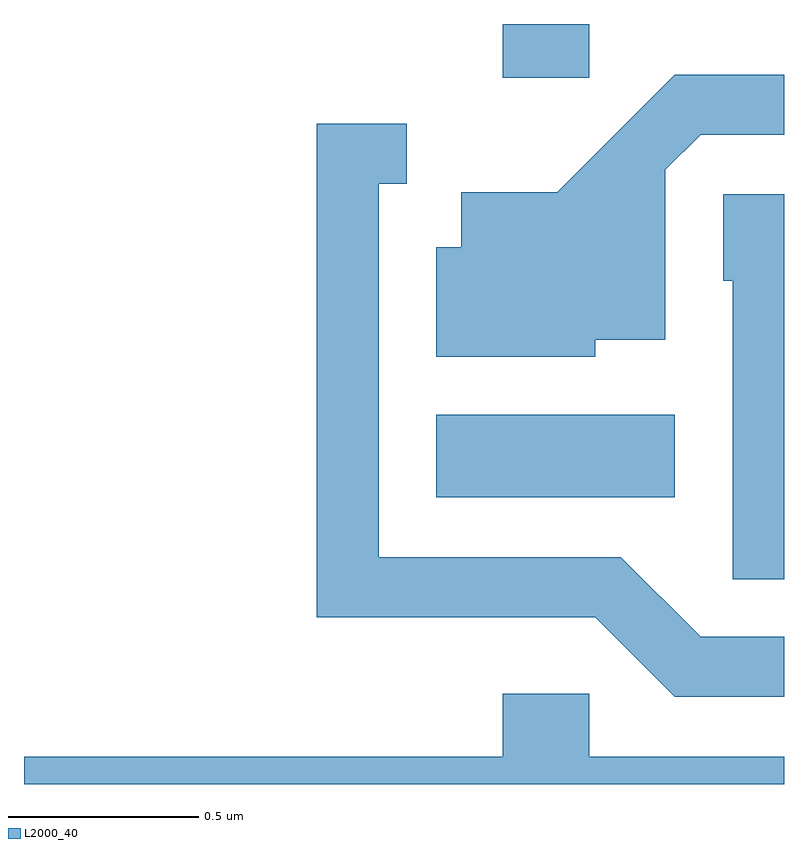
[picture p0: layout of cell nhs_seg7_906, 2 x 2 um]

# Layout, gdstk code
import gdstk
lib = gdstk.Library(unit=1e-6, precision=1e-09)
def R(c, l, rs):  # rectangles x0, y0, x1, y1
    for r in rs: c.add(gdstk.rectangle(r[:2], r[2:], *l))
def P(c, l, *ps):  # polygons
    for p in ps: c.add(gdstk.Polygon(p, *l))
L2000_40 = (2000, 40)

nhs_seg7_906 = lib.new_cell('nhs_seg7_906')
R(nhs_seg7_906, L2000_40, [(192.696,1753.006,193.324,1753.224), (192.871,1754.111,193.099,1754.252)])
P(nhs_seg7_906, L2000_40, [(193.114,1753.421),(193.299,1753.421),(193.299,1753.869),(193.392,1753.961),(193.611,1753.961),(193.611,1754.119),(193.324,1754.119),(193.014,1753.809),(192.761,1753.809),(192.761,1753.664),(192.696,1753.664),(192.696,1753.376),(193.114,1753.376)],
  [(193.611,1752.639),(193.392,1752.639),(193.182,1752.849),(192.544,1752.849),(192.544,1753.831),(192.618,1753.831),(192.618,1753.989),(192.381,1753.989),(192.381,1752.691),(193.114,1752.691),(193.324,1752.481),(193.611,1752.481)],
  [(193.611,1753.804),(193.451,1753.804),(193.451,1753.576),(193.476,1753.576),(193.476,1752.791),(193.611,1752.791)],
  [(193.611,1752.324),(193.099,1752.324),(193.099,1752.489),(192.871,1752.489),(192.871,1752.324),(191.611,1752.324),(191.611,1752.252),(193.611,1752.252)])

lib.write_gds('nhs_seg7_906.gds')
